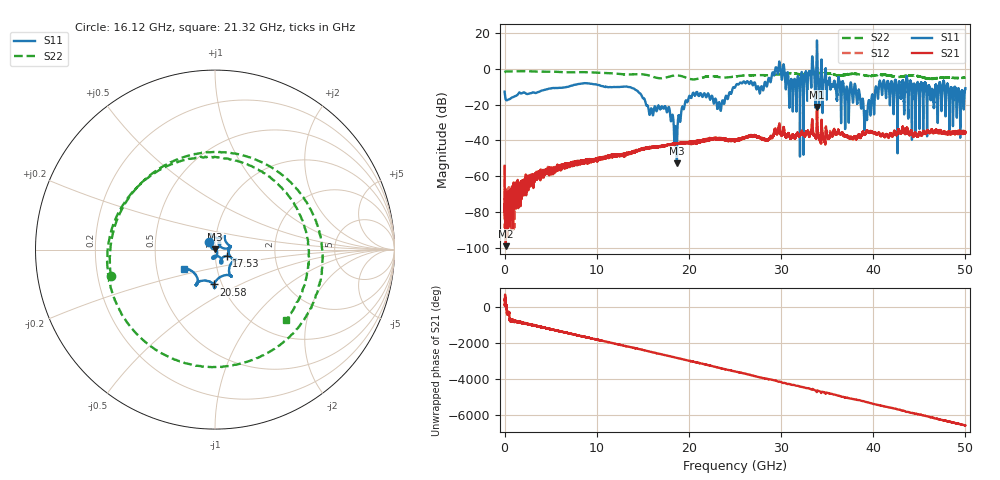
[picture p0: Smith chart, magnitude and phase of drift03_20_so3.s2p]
!Created with skrf (http://scikit-rf.org).
# Hz S RI R 50.0
!freq ReS11 ImS11 ReS21 ImS21 ReS12 ImS12 ReS22 ImS22
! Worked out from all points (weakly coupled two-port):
!   10001 points, 300 kHz to 50 GHz, reference 50 ohm
!   highest |S21| = -21.26 dB at 33.9 GHz (marker M1); lowest = -99.0 dB at 130.3 MHz (marker M2)
!   lowest |S11| = -52.7 dB at 18.7 GHz (marker M3), VSWR 1.00, Z = 50 + j0.232 ohm
!   |S11| at or under -10 dB: start of sweep to 6.949 GHz; 13.32 GHz to 25.05 GHz (11.73 GHz wide, 61.1 % of centre); 38.07 GHz to 40.28 GHz (2.204 GHz wide, 5.63 % of centre) (the widest 3 of 62)
!   |S22| runs from -5.9 to -1.3 dB; largest |S21 - S12| = 0.0088
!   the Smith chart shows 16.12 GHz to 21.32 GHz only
!   S11 on the Smith chart (normalised r, x): 16.12 GHz: 0.94, +0.08; 17.53 GHz: 1.14, -0.08; 20.58 GHz: 0.92, -0.37; 21.32 GHz: 0.69, -0.16
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300000  -0.2076 -0.0983  -0.00154 0.0012  -0.0014 0.00131  -0.7615 -0.189
1.302992e8  -0.1242 0.0599  3.91e-06 -1.05e-05  8.45e-05 0.000309  -0.8171 0.2058
1.530291e9  0.2031 0.0456  -0.000308 -0.000582  -1.16e-05 -0.000548  0.8484 0.0845
3.160281e9  -0.2185 -0.00845  0.000219 0.00108  -8.45e-05 0.00099  -0.8444 -0.0243
4.665272e9  0.2634 0.0609  -0.000281 -0.0013  -0.000245 -0.00144  0.8184 0.1412
6.355262e9  -0.2997 -0.00243  0.000589 0.00177  0.000708 0.00155  -0.8038 -0.048
8.33525e9  0.2837 -0.2684  -0.0022 -0.00102  -0.00215 -0.00106  0.6001 -0.5367
1.043024e10  -0.0426 0.332  0.00276 -0.00201  0.00234 -0.00192  -0.0359 0.7698
1.201523e10  0.00669 -0.3082  -0.00284 0.00267  -0.00287 0.00263  0.1035 -0.7279
1.61152e10  -0.0317 0.041  0.00589 0.00206  0.00616 0.00213  -0.5792 -0.1474
1.66702e10  0.054 0.0756  0.00443 -0.00482  0.00462 -0.00475  -0.3546 0.4204
1.753019e10  0.0661 -0.0355  -0.00603 -0.00364  -0.00621 -0.00374  0.4972 0.2823
1.869519e10  4.5e-05 0.00232  0.00254 0.00805  0.00252 0.00784  -0.0894 -0.6485
2.057518e10  -0.00628 -0.1938  -0.00724 -0.00418  -0.00806 -0.00441  0.3751 0.3398
2.132017e10  -0.1706 -0.1075  -0.00493 0.00828  -0.00485 0.00843  0.3945 -0.3934
2.500015e10  -0.2973 -0.0474  0.00711 0.00611  0.00774 0.00668  -0.19 -0.5822
3.050512e10  0.256 -0.09  -0.00236 0.0121  -0.00271 0.013  0.7404 -0.0612
3.213011e10  0.2058 0.3722  -0.000481 -0.015  -0.000423 -0.0149  -0.6878 0.0222
3.33351e10  0.443 -0.9862  -0.00448 0.0252  -0.00561 0.024  0.6148 0.3635
3.38951e10  -0.7124 -6.141  0.086 0.00925  0.0777 0.00637  0.6752 -0.3265
4.167005e10  -0.2126 0.2816  -0.0119 -0.00465  -0.0117 -0.0054  -0.6526 -0.0519
5e10  -0.1567 -0.2416  0.00205 -0.0173  0.00223 -0.0162  0.4622 -0.3197
